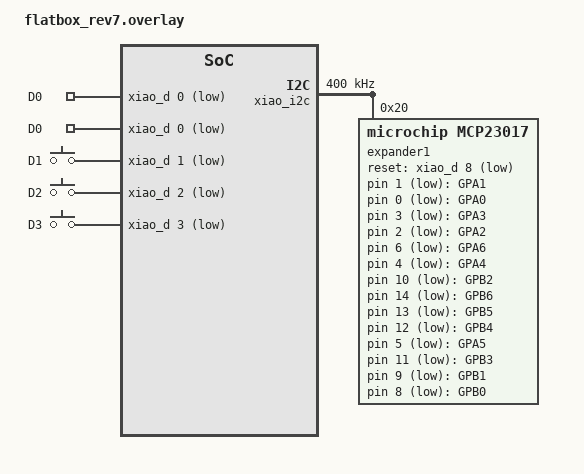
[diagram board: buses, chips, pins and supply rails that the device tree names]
/ {
    zephyr,user {
        radio-notification-distance-us = <900>;
    };

    gamepad-buttons {
        compatible = "gpio-keys";
        /* same as start */
        system { gpios = <&xiao_d 0 (GPIO_PULL_UP | GPIO_ACTIVE_LOW)>; label = "D0"; };
        start { gpios = <&xiao_d 0 (GPIO_PULL_UP | GPIO_ACTIVE_LOW)>; label = "D0"; };
        select { gpios = <&xiao_d 1 (GPIO_PULL_UP | GPIO_ACTIVE_LOW)>; label = "D1"; };
        home { gpios = <&xiao_d 2 (GPIO_PULL_UP | GPIO_ACTIVE_LOW)>; label = "D2"; };
        button14 { gpios = <&xiao_d 3 (GPIO_PULL_UP | GPIO_ACTIVE_LOW)>; label = "D3"; };
        l3 { gpios = <&expander1 1 (GPIO_PULL_UP | GPIO_ACTIVE_LOW)>; label = "GPA1"; };
        r3 { gpios = <&expander1 0 (GPIO_PULL_UP | GPIO_ACTIVE_LOW)>; label = "GPA0"; };
        dpad-left { gpios = <&expander1 3 (GPIO_PULL_UP | GPIO_ACTIVE_LOW)>; label = "GPA3"; };
        dpad-down { gpios = <&expander1 2 (GPIO_PULL_UP | GPIO_ACTIVE_LOW)>; label = "GPA2"; };
        dpad-right { gpios = <&expander1 6 (GPIO_PULL_UP | GPIO_ACTIVE_LOW)>; label = "GPA6"; };
        dpad-up { gpios = <&expander1 4 (GPIO_PULL_UP | GPIO_ACTIVE_LOW)>; label = "GPA4"; };
        west { gpios = <&expander1 10 (GPIO_PULL_UP | GPIO_ACTIVE_LOW)>; label = "GPB2"; };
        north { gpios = <&expander1 14 (GPIO_PULL_UP | GPIO_ACTIVE_LOW)>; label = "GPB6"; };
        r1 { gpios = <&expander1 13 (GPIO_PULL_UP | GPIO_ACTIVE_LOW)>; label = "GPB5"; };
        l1 { gpios = <&expander1 12 (GPIO_PULL_UP | GPIO_ACTIVE_LOW)>; label = "GPB4"; };
        south { gpios = <&expander1 5 (GPIO_PULL_UP | GPIO_ACTIVE_LOW)>; label = "GPA5"; };
        east { gpios = <&expander1 11 (GPIO_PULL_UP | GPIO_ACTIVE_LOW)>; label = "GPB3"; };
        r2 { gpios = <&expander1 9 (GPIO_PULL_UP | GPIO_ACTIVE_LOW)>; label = "GPB1"; };
        l2 { gpios = <&expander1 8 (GPIO_PULL_UP | GPIO_ACTIVE_LOW)>; label = "GPB0"; };
    };
};

&xiao_i2c {
    clock-frequency = <400000>;

    expander1: mcp230xx@20 {
        compatible = "microchip,mcp23017";
        reg = <0x20>;
        gpio-controller;
        #gpio-cells = <2>;
        ngpios = <16>;
        reset-gpios = <&xiao_d 8 GPIO_ACTIVE_LOW>;
    };
};
